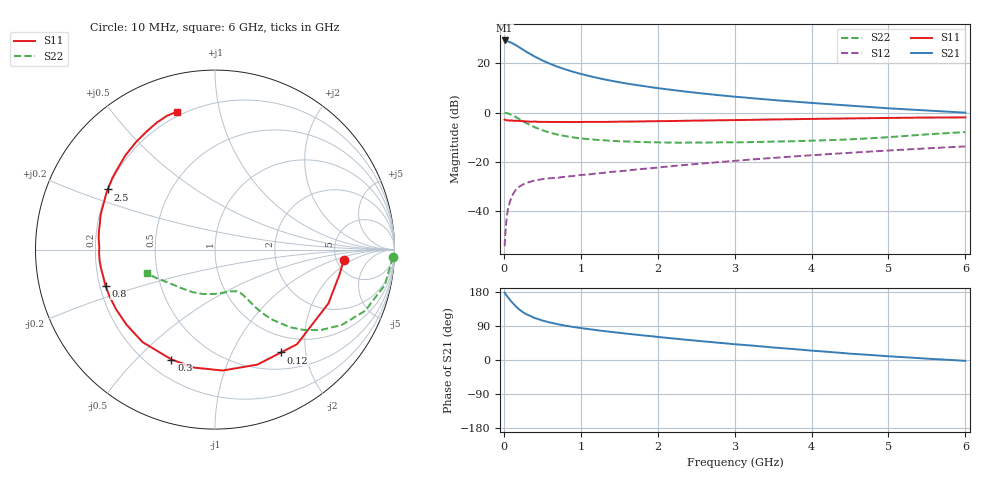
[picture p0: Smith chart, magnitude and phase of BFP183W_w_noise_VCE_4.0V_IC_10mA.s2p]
! Infineon Technologies  Discrete & RF Semiconductors
! BFP183W
! VCE =  4.0 V,  IC =  10 mA
! Common Emitter S-Parameters:  Jan 2017
# GHz  S  MA  R  50
!  f  S11  S21  S12  S22
! GHz  MAG  ANG  MAG  ANG  MAG  ANG  MAG  ANG
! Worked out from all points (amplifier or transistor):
!   77 points, 10 MHz to 6 GHz, reference 50 ohm
!   highest |S21| = 29.4 dB at 10 MHz (marker M1)
!   |S21| within 3 dB of that: start of sweep to 211.2 MHz
!   unconditionally stable (mu >= 1): 1.613 GHz to 3.957 GHz
!   at 130 MHz: K = 0.14, MSG = 30.3 dB, |S12| = -32.7 dB
!   at 2.2 GHz: K = 1.07, MAG = 13.9 dB, |S12| = -21.8 dB
!   at 6 GHz: K = 0.86, MSG = 6.9 dB, |S12| = -13.8 dB
!   lowest NFmin = 0.92 dB at 450 MHz
!   S11 on the Smith chart (normalised r, x): 10 MHz: 5.83, -1.34; 120 MHz: 0.74, -1.57; 300 MHz: 0.30, -0.64; 800 MHz: 0.22, -0.15; 2.5 GHz: 0.20, +0.25; 6 GHz: 0.18, +0.75
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0.01  0.7202 -4.4  29.43 178.1  0.0019 87.1  0.9934 -2.4
0.02  0.7072 -11.5  29.09 174.4  0.0034 87.9  0.9822 -4.7
0.05  0.6994 -25.4  28.37 166.3  0.01 79.7  0.9675 -11.7
0.1  0.6977 -49.1  26.47 153.5  0.0191 67.4  0.903 -22.2
0.12  0.681 -57.3  25.35 149.4  0.0219 64.0  0.8679 -25.4
0.15  0.6829 -69.8  23.95 142.6  0.0261 60.3  0.8209 -30.8
0.2  0.6751 -86.4  21.37 133.4  0.0309 53.3  0.7388 -37.4
0.25  0.6677 -100.2  19.07 125.9  0.0345 48.5  0.6647 -42.3
0.3  0.6586 -111.6  17.01 119.9  0.0371 44.3  0.5999 -46.1
0.4  0.6547 -128.0  13.87 110.8  0.0413 40.5  0.5032 -50.8
0.5  0.6466 -139.8  11.55 104.2  0.044 38.2  0.4363 -53.5
0.6  0.6437 -148.8  9.865 98.9  0.046 36.9  0.3887 -55.1
0.8  0.6428 -161.6  7.584 90.6  0.0494 38.8  0.3312 -56.8
0.9  0.6407 -166.6  6.766 87.3  0.0509 38.9  0.3122 -57.6
1.1  0.6459 -174.6  5.603 81.6  0.0548 41.4  0.288 -58.9
1.5  0.6526 173.1  4.149 71.8  0.0637 44.3  0.2606 -63.0
2.1  0.6699 158.8  3.007 58.9  0.0787 48.0  0.2457 -73.1
2.5  0.6851 150.7  2.533 51.0  0.0895 49.1  0.2445 -82.1
3.1  0.706 140.0  2.042 40.1  0.107 49.3  0.2487 -96.1
4.1  0.746 125.1  1.533 23.3  0.1384 47.2  0.2702 -120.7
5.1  0.7803 113.7  1.196 8.6  0.1721 43.1  0.3238 -146.0
6  0.7978 105.5  0.995 -2.3  0.2046 38.0  0.4009 -160.7
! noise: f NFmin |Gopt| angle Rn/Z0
0.45  0.92  0.1  112  0.11
0.9  0.97  0.18  144  0.09
1.9  1.47  0.37  -176  0.07
2.4  1.72  0.44  -167  0.09
